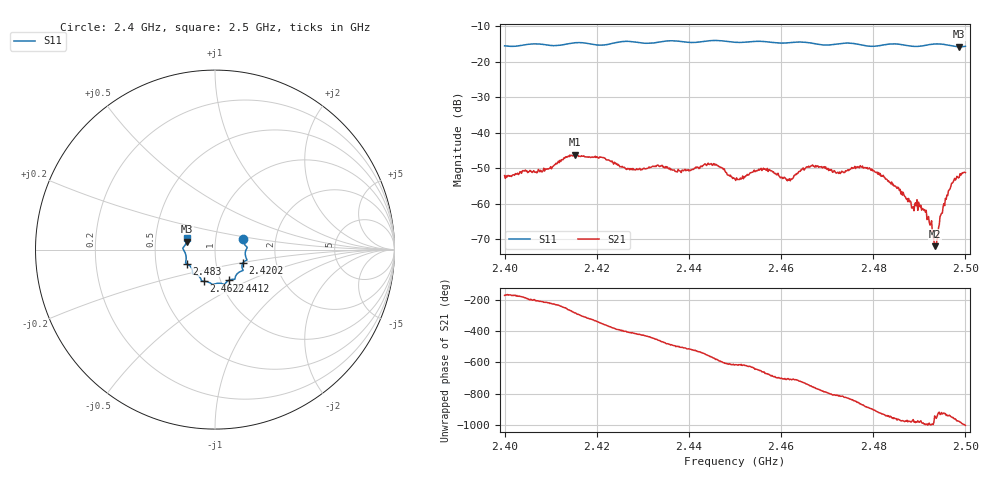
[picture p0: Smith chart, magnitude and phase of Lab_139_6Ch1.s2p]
# Hz S RI R 50
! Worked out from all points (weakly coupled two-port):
!   601 points, 2.4 GHz to 2.5 GHz, reference 50 ohm
!   highest |S21| = -46.24 dB at 2.4153 GHz (marker M1); lowest = -72.0 dB at 2.4933 GHz (marker M2)
!   lowest |S11| = -15.7 dB at 2.4987 GHz (marker M3), VSWR 1.39, Z = 36.3 + j3.3 ohm
!   |S11| at or under -10 dB: start of sweep to end of sweep
!   S12 and S22 are empty: the file has one direction only
!   S11 on the Smith chart (normalised r, x): 2.4 GHz: 1.36, +0.17; 2.4202 GHz: 1.35, -0.20; 2.4412 GHz: 1.09, -0.39; 2.4622 GHz: 0.83, -0.30; 2.483 GHz: 0.72, -0.12; 2.5 GHz: 0.73, +0.09
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2.4e9  0.1573 0.0602  -0.00242 -0.000561  0 0  0 0
2.408167e9  0.1766 0.00644  -0.00248 0.00131  0 0  0 0
2.415333e9  0.1778 -0.0558  0.000861 0.0048  0 0  0 0
2.416667e9  0.177 -0.0589  0.00226 0.00415  0 0  0 0
2.420167e9  0.1569 -0.0723  0.00418 0.00179  0 0  0 0
2.426667e9  0.1561 -0.1167  0.00228 -0.00214  0 0  0 0
2.433333e9  0.1132 -0.1517  -0.000383 -0.00345  0 0  0 0
2.441167e9  0.0759 -0.1719  -0.00301 -0.000935  0 0  0 0
2.445833e9  0.0515 -0.1938  -0.00271 0.00234  0 0  0 0
2.45e9  0.0268 -0.1871  -0.00055 0.00214  0 0  0 0
2.456e9  -0.0146 -0.1937  0.00151 0.00264  0 0  0 0
2.462167e9  -0.0624 -0.1767  0.00218 0.000424  0 0  0 0
2.466667e9  -0.0774 -0.1666  0.0028 -0.00196  0 0  0 0
2.472333e9  -0.1163 -0.1363  -6e-05 -0.00276  0 0  0 0
2.477667e9  -0.1265 -0.1168  -0.00303 -0.0015  0 0  0 0
2.483e9  -0.1584 -0.0779  -0.00163 0.00145  0 0  0 0
2.483333e9  -0.1602 -0.0772  -0.00152 0.00143  0 0  0 0
2.491e9  -0.1691 -0.0118  9.48e-05 0.000796  0 0  0 0
2.493333e9  -0.1787 0.00435  -0.000179 0.000175  0 0  0 0
2.496167e9  -0.1713 0.0183  -0.00093 0.000904  0 0  0 0
2.498667e9  -0.1572 0.0442  -0.00041 0.00231  0 0  0 0
2.5e9  -0.1539 0.0621  0.000756 0.00263  0 0  0 0
